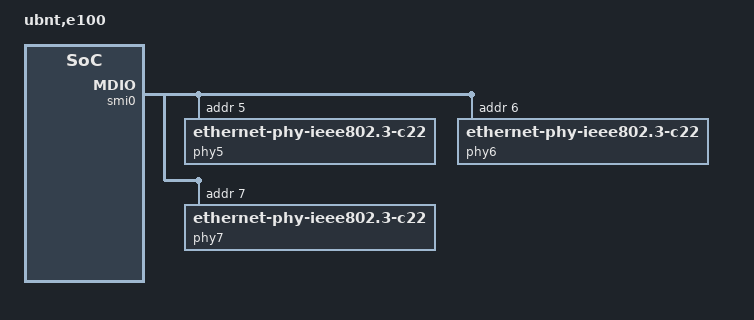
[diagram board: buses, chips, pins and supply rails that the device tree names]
// SPDX-License-Identifier: GPL-2.0-only
/*
 * Device tree source for EdgeRouter Lite.
 *
 * Written by: Aaro Koskinen <aaro.koskinen@iki.fi>
 */

/include/ "octeon_3xxx.dtsi"

/ {
	model = "ubnt,e100";

	soc@0 {
		smi0: mdio@1180000001800 {
			phy5: ethernet-phy@5 {
				reg = <5>;
				compatible = "ethernet-phy-ieee802.3-c22";
			};
			phy6: ethernet-phy@6 {
				reg = <6>;
				compatible = "ethernet-phy-ieee802.3-c22";
			};
			phy7: ethernet-phy@7 {
				reg = <7>;
				compatible = "ethernet-phy-ieee802.3-c22";
			};
		};

		pip: pip@11800a0000000 {
			interface@0 {
				ethernet@0 {
					phy-handle = <&phy7>;
					rx-delay = <0>;
					tx-delay = <0x10>;
				};
				ethernet@1 {
					phy-handle = <&phy6>;
					rx-delay = <0>;
					tx-delay = <0x10>;
				};
				ethernet@2 {
					phy-handle = <&phy5>;
					rx-delay = <0>;
					tx-delay = <0x10>;
				};
			};
		};

		uart0: serial@1180000000800 {
			clock-frequency = <500000000>;
		};

		usbn: usbn@1180068000000 {
			refclk-frequency = <12000000>;
			refclk-type = "crystal";
		};
	};

	aliases {
		pip = &pip;
	};
};
